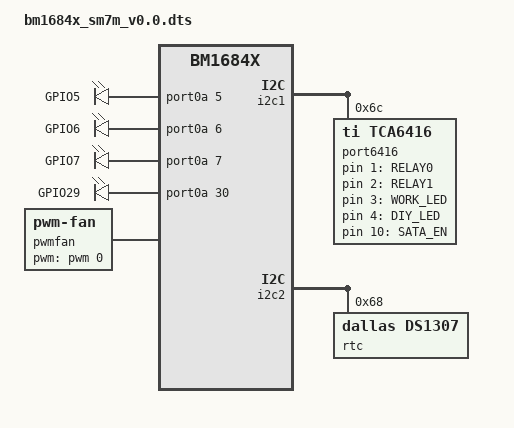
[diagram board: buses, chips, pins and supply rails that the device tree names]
#include "bm1684x.dtsi"
#include "bm1684x_mm_16g.dtsi"
#include "bm1684x_evb.dtsi"
#include <dt-bindings/input/input.h>

/ {
	/delete-node/ pka@58008000;
	/delete-node/ clp890@50018000;
	/delete-node/ tach@50029028;
	info {
		file-name = "bm1684x_sm7m_v0.0.dtb";
	};
};

&vpu_reserved {
			reg = <0x3 0x40000000 0x0 0x08000000>; // 128M, for VPU firmware
	no-map;
};

&ion_for_vpu {
			compatible = "vpu-region";
			reg = <0x3 0x48000000 0x0 0x80000000>; // 2G, for VPU
};

&ion_for_npu {
			compatible = "npu-region";
			reg = <0x1 0x51000000 0x0 0x80000000>; // 2GB
};

&ion_for_vpp {
			compatible = "vpp-region";
			reg = <0x4 0x00000000 0x1 0x00000000>; // 4G, for VPP/JPU
};
/ {
	gpioleds: gpio-leds {
		compatible = "gpio-leds";
		pinctrl-names = "default";
		pinctrl-0 = <&pwm1_release &dbgi2c_release>;
		status = "okay";

		gpio5 {
			label = "GPIO5";
			gpios = <&port0a 5 GPIO_ACTIVE_HIGH>;
		};

		gpio6 {
			label = "GPIO6";
			gpios = <&port0a 6 GPIO_ACTIVE_HIGH>;
		};

		gpio7 {
			label = "GPIO7";
			gpios = <&port0a 7 GPIO_ACTIVE_HIGH>;
		};

		gpio29 {
			label = "GPIO29";
			// gpio29 and gpio30 get swapped in schematic
			gpios = <&port0a 30 GPIO_ACTIVE_HIGH>;
		};

		p01 {
			label = "RELAY0";
			gpios = <&port6416 1 GPIO_ACTIVE_HIGH>;
			default-state = "off";
		};

		p02 {
			label = "RELAY1";
			gpios = <&port6416 2 GPIO_ACTIVE_HIGH>;
			default-state = "off";
		};

		p03 {
			label = "WORK_LED";
			gpios = <&port6416 3 GPIO_ACTIVE_HIGH>;
			default-state = "on";
		};

		p04 {
			label = "DIY_LED";
			gpios = <&port6416 4 GPIO_ACTIVE_HIGH>;
			default-state = "off";
		};

		#if 0
		p06 {
			label = "PCIE_SEL";
			gpios = <&port6416 6 GPIO_ACTIVE_HIGH>;
		};

		p07 {
			label = "LTE_RST";
			gpios = <&port6416 7 GPIO_ACTIVE_HIGH>;
		};

		p10 {
			label = "LTE_PWR_EN";
			gpios = <&port6416 8 GPIO_ACTIVE_HIGH>;
		};
		#endif

		p12 {
			label = "SATA_EN";
			gpios = <&port6416 10 GPIO_ACTIVE_HIGH>;
		};

	};

	gpiokeys: gpio-keys {
		compatible = "gpio-keys-polled";
		status = "okay";
		#address-cells = <1>;
		#size-cells = <0>;
		debounce-interval = <300>;
		poll-interval = <100>;

		#if 0
		p05 {
			label = "power";
			linux,code = <KEY_POWER>;
			gpios = <&port6416 5 GPIO_ACTIVE_HIGH>;
		};
		#endif
	};

	pwmfan: pwm-fan {
		pinctrl-names = "default";
		pinctrl-0 = <&pwm0_acquire>;
		compatible = "pwm-fan";
		pwms = <&pwm 0 40000>; // period_ns
		pwm-names = "pwm0";
		pwm_inuse = "pwm0";
		#cooling-cells = <2>;
		cooling-levels = <0 160 192 224 255>;  //total 255
	};

};

&ethernet0 {
	eth-sophgo-config {
		led = <0xae00>;
		clkout = <0x0e02>;
	};
};

&ethernet1 {
	eth-sophgo-config {
		led = <0xae00>;
		clkout = <0x0e02>;
	};
};

&i2c1 {
	/delete-node/ rtc@68;

	port6416: tca6416@6c {
		compatible = "ti,tca6416";
		reg = <0x6c>;
		gpio-controller;
		#gpio-cells = <2>;
	};
};

&i2c2 {
	rtc@68 {
		compatible = "dallas,ds1307";
		reg = <0x68>;
	};
};
&clock_init {
	clock-rates = \
		<2300000000>, <750000000>, <640000000>,

		<1000000000>, <1000000000>,
		<2000000000>, <50000000>,
		<100000000>, <100000000>,
		<125000000>, <50000000>,
		<25000000>, <125000000>,
		<50000000>, <25000000>,
		<500000000>, <25000000>,
		<1000000000>, <500000000>,
		<800000000>, <100000000>,
		<250000000>, <250000000>,
		<500000000>, <500000000>,
		<50000000>, <50000000>,
		<50000000>, <50000000>,
		<50000000>, <50000000>,
		<50000000>, <50000000>,
		<100000>, <100000>, <100000>,

		<1000000001>,
		<800000000>, <800000001>,
		<2300000001>, <575000000>;
		};
